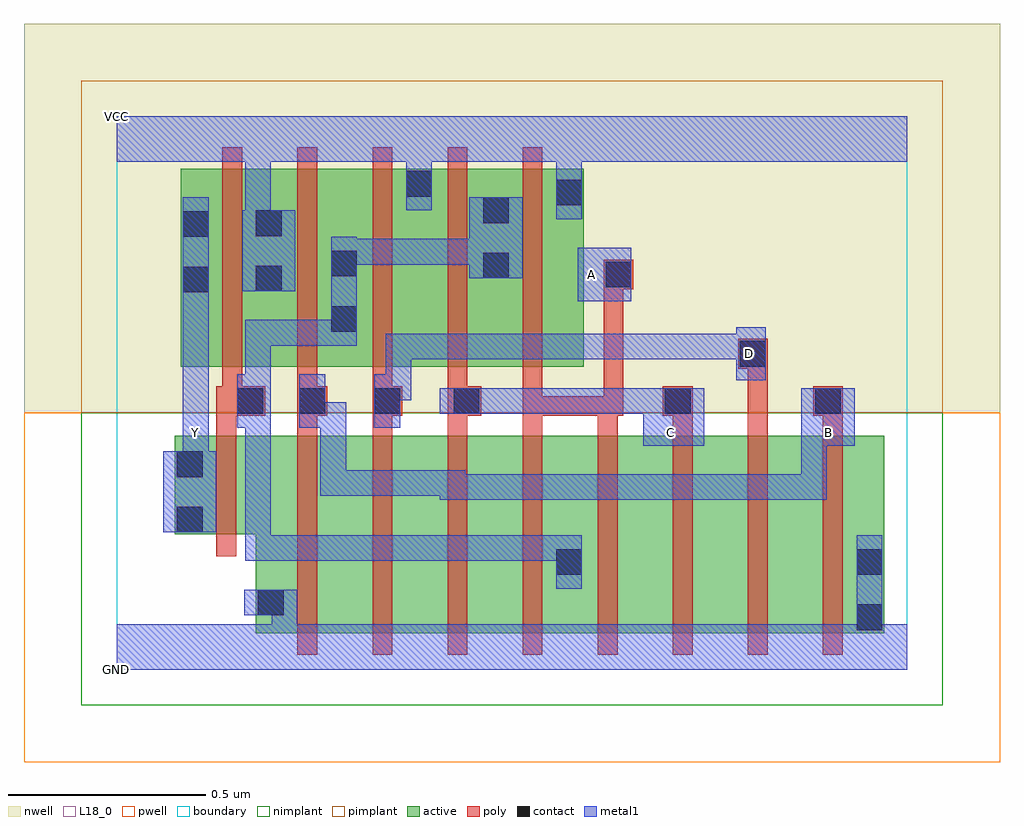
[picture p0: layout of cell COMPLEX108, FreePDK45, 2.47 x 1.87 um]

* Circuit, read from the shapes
.subckt COMPLEX108 A B C D GND VCC Y
M1 GND n1 Y VSUBS nfet w=0.25u l=0.05u
M2 n2 B GND VSUBS nfet w=0.5u l=0.05u
M3 n3 D n2 VSUBS nfet w=0.5u l=0.05u
M4 n4 C n3 VSUBS nfet w=0.5u l=0.05u
M5 n1 A n4 VSUBS nfet w=0.5u l=0.05u
M6 n5 A n1 VSUBS nfet w=0.5u l=0.05u
M7 n6 C n5 VSUBS nfet w=0.5u l=0.05u
M8 n7 D n6 VSUBS nfet w=0.5u l=0.05u
M9 GND B n7 VSUBS nfet w=0.5u l=0.05u
M10 VCC n1 Y n8 pfet w=0.5u l=0.05u
M11 n1 B VCC n8 pfet w=0.5u l=0.05u
M12 VCC D n1 n8 pfet w=0.5u l=0.05u
M13 n1 C VCC n8 pfet w=0.5u l=0.05u
M14 VCC A n1 n8 pfet w=0.5u l=0.05u
.ends

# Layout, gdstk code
import gdstk
lib = gdstk.Library(unit=1e-6, precision=1e-09)
def R(c, l, rs):  # rectangles x0, y0, x1, y1
    for r in rs: c.add(gdstk.rectangle(r[:2], r[2:], *l))
def A(c, l, x, y, w, h, nx, ny, dx, dy):  # array of equal rectangles
    R(c, l, [(x+i*dx, y+j*dy, x+i*dx+w, y+j*dy+h) for i in range(nx) for j in range(ny)])
active = (1, 0)
pwell = (2, 0)
nwell = (3, 0)
nimplant = (4, 0)
pimplant = (5, 0)
poly = (9, 0)
contact = (10, 0)
metal1 = (11, 0)
L18_0 = (18, 0)
boundary = (235, 0)

complex108 = lib.new_cell('COMPLEX108')
R(complex108, active, [(0.352,0.092,0.577,0.592), (0.352,0.092,0.427,0.462), (0.577,0.092,0.767,0.592), (0.767,0.092,0.957,0.592), (0.957,0.092,1.182,0.592), (1.107,0.092,1.337,0.592), (1.337,0.092,1.527,0.592), (1.527,0.092,1.717,0.592), (1.717,0.092,1.942,0.592), (1.107,0.095,1.182,0.517), (1.867,0.095,1.942,0.592), (0.147,0.342,0.427,0.592), (0.147,0.342,0.222,0.592), (0.162,0.767,0.422,1.267), (0.162,0.767,0.237,1.2), (0.347,0.767,0.612,1.267), (0.537,0.767,0.802,1.267), (0.537,0.767,0.612,1.2), (0.727,0.767,0.997,1.267), (0.922,0.767,1.182,1.267), (1.107,0.767,1.182,1.267), (0.347,0.807,0.422,1.267), (0.727,0.807,0.802,1.267), (0.922,0.807,0.997,1.2)])
R(complex108, pwell, [(-0.235,-0.235,2.235,0.65)])
R(complex108, nwell, [(-0.235,0.65,2.235,1.635)])
R(complex108, nimplant, [(-0.09,-0.09,2.09,0.65)])
R(complex108, pimplant, [(-0.09,0.65,2.09,1.49)])
A(complex108, poly, 0.457, 0.037, 0.05, 0.61, 8, 1, 0.19, 0)
A(complex108, poly, 0.457, 0.597, 0.05, 0.095, 6, 1, 0.19, 0)
A(complex108, poly, 0.267, 0.667, 0.05, 0.095, 4, 1, 0.19, 0)
A(complex108, poly, 0.267, 0.712, 0.05, 0.61, 5, 1, 0.19, 0)
R(complex108, poly, [(0.252,0.287,0.302,0.647), (0.252,0.597,0.302,0.692), (1.597,0.597,1.647,0.812), (1.787,0.597,1.837,0.692), (0.252,0.642,0.375,0.717), (0.457,0.642,0.532,0.717), (0.647,0.642,0.722,0.717), (0.837,0.642,0.922,0.717), (1.027,0.642,1.077,0.692), (1.027,0.642,1.267,0.692), (1.027,0.642,1.077,0.762), (1.217,0.642,1.267,0.692), (1.217,0.642,1.267,0.692), (1.217,0.642,1.282,0.692), (1.232,0.642,1.282,1.012), (1.232,0.642,1.282,0.692), (1.232,0.642,1.282,0.692), (1.382,0.642,1.457,0.717), (1.762,0.642,1.837,0.717), (1.572,0.762,1.647,0.837), (1.232,0.962,1.307,1.037)])
R(complex108, contact, [(1.872,0.1,1.937,0.165), (0.357,0.137,0.422,0.202), (1.112,0.24,1.177,0.305), (1.872,0.24,1.937,0.305), (0.152,0.347,0.217,0.412), (0.152,0.487,0.217,0.552), (0.305,0.647,0.37,0.712), (0.462,0.647,0.527,0.712), (0.652,0.647,0.717,0.712), (0.852,0.647,0.917,0.712), (1.387,0.647,1.452,0.712), (1.767,0.647,1.832,0.712), (1.577,0.767,1.642,0.832), (0.542,0.855,0.607,0.92), (0.167,0.955,0.232,1.02), (0.352,0.957,0.417,1.022), (1.237,0.967,1.302,1.032), (0.927,0.99,0.992,1.055), (0.542,0.995,0.607,1.06), (0.167,1.095,0.232,1.16), (0.352,1.097,0.417,1.162), (0.927,1.13,0.992,1.195), (1.112,1.175,1.177,1.24), (0.732,1.197,0.797,1.262)])
R(complex108, metal1, [(0,0,2,0.115), (0.392,0.05,0.457,0.202), (1.872,0.05,1.937,0.13), (1.872,0.065,1.937,0.34), (0.322,0.137,0.457,0.202), (1.112,0.205,1.177,0.34), (0.325,0.275,0.39,0.34), (0.325,0.275,0.507,0.34), (0.325,0.275,0.39,0.677), (0.442,0.275,0.507,0.34), (0.442,0.275,0.527,0.34), (0.462,0.275,0.527,0.34), (0.462,0.275,0.745,0.34), (0.68,0.275,0.745,0.34), (0.68,0.275,0.745,0.34), (0.68,0.275,0.745,0.34), (0.68,0.275,0.882,0.34), (0.817,0.275,0.882,0.34), (0.817,0.275,0.882,0.34), (0.817,0.275,0.882,0.34), (0.817,0.275,1.095,0.34), (1.03,0.275,1.095,0.34), (1.03,0.275,1.177,0.34), (0.117,0.347,0.252,0.552), (0.817,0.43,0.882,0.495), (0.817,0.43,0.882,0.495), (0.817,0.43,1.095,0.495), (0.817,0.43,0.882,0.505), (1.03,0.43,1.095,0.495), (1.03,0.43,1.095,0.495), (1.03,0.43,1.095,0.495), (1.03,0.43,1.26,0.495), (1.195,0.43,1.26,0.495), (1.195,0.43,1.26,0.495), (1.195,0.43,1.26,0.495), (1.195,0.43,1.487,0.495), (1.422,0.43,1.487,0.495), (1.422,0.43,1.487,0.495), (1.422,0.43,1.487,0.495), (1.422,0.43,1.625,0.495), (1.56,0.43,1.625,0.495), (1.56,0.43,1.797,0.495), (1.732,0.43,1.797,0.495), (1.732,0.43,1.797,0.632), (0.515,0.44,0.58,0.505), (0.515,0.44,0.745,0.505), (0.515,0.44,0.58,0.677), (0.68,0.44,0.745,0.505), (0.68,0.44,0.745,0.505), (0.68,0.44,0.745,0.505), (0.68,0.44,0.882,0.505), (0.167,0.487,0.232,0.597), (0.167,0.532,0.232,0.667), (1.332,0.567,1.487,0.712), (1.732,0.567,1.797,0.632), (1.732,0.567,1.797,0.632), (1.732,0.567,1.867,0.712), (0.167,0.602,0.232,0.985), (0.305,0.612,0.37,0.747), (0.305,0.612,0.39,0.677), (0.325,0.612,0.39,0.677), (0.325,0.612,0.39,0.677), (0.325,0.612,0.39,0.677), (0.325,0.612,0.39,0.885), (0.462,0.612,0.527,0.747), (0.462,0.612,0.58,0.677), (0.515,0.612,0.58,0.677), (0.652,0.612,0.717,0.747), (0.817,0.647,0.952,0.712), (0.887,0.647,0.952,0.712), (0.887,0.647,0.952,0.712), (0.887,0.647,1.095,0.712), (1.03,0.647,1.095,0.712), (1.03,0.647,1.095,0.712), (1.03,0.647,1.095,0.712), (1.03,0.647,1.232,0.712), (1.167,0.647,1.232,0.712), (1.167,0.647,1.232,0.712), (1.167,0.647,1.232,0.712), (1.167,0.647,1.397,0.712), (0.652,0.682,0.745,0.747), (0.68,0.682,0.745,0.747), (0.68,0.682,0.745,0.85), (1.567,0.732,1.642,0.867), (0.68,0.785,0.745,0.85), (0.68,0.785,0.882,0.85), (0.817,0.785,0.882,0.85), (0.817,0.785,0.882,0.85), (0.817,0.785,0.882,0.85), (0.817,0.785,1.095,0.85), (1.03,0.785,1.095,0.85), (1.03,0.785,1.095,0.85), (1.03,0.785,1.095,0.85), (1.03,0.785,1.26,0.85), (1.195,0.785,1.26,0.85), (1.195,0.785,1.26,0.85), (1.195,0.785,1.26,0.85), (1.195,0.785,1.397,0.85), (1.332,0.785,1.397,0.85), (1.332,0.785,1.632,0.85), (1.567,0.785,1.632,0.85), (1.567,0.785,1.632,0.85), (1.567,0.785,1.632,0.85), (1.567,0.785,1.632,0.85), (0.325,0.82,0.39,0.885), (0.325,0.82,0.58,0.885), (0.515,0.82,0.58,0.885), (0.515,0.82,0.607,0.885), (0.542,0.82,0.607,1.095), (0.167,0.92,0.232,1.195), (1.167,0.932,1.302,1.067), (0.317,0.957,0.452,1.162), (0.892,0.99,1.027,1.195), (0.542,1.025,0.745,1.09), (0.542,1.025,0.607,1.095), (0.68,1.025,0.745,1.09), (0.68,1.025,0.745,1.09), (0.68,1.025,0.745,1.09), (0.68,1.025,0.957,1.09), (0.892,1.025,0.957,1.09), (0.892,1.025,0.957,1.09), (0.542,1.03,0.607,1.095), (0.325,1.097,0.39,1.162), (0.325,1.097,0.39,1.162), (0.325,1.097,0.39,1.35), (1.112,1.14,1.177,1.275), (0.732,1.162,0.797,1.297), (1.112,1.21,1.177,1.35), (0.732,1.232,0.797,1.35), (0,1.285,2,1.4), (0.732,1.285,0.797,1.35), (0.732,1.285,0.797,1.35), (1.112,1.285,1.177,1.35), (1.112,1.285,1.177,1.35)])
R(complex108, L18_0, [(0,0,2,0.115), (0.392,0.05,0.457,0.202), (1.872,0.05,1.937,0.13), (1.872,0.065,1.937,0.34), (0.322,0.137,0.457,0.202), (0.117,0.347,0.252,0.552), (0.817,0.43,0.882,0.495), (0.817,0.43,0.882,0.495), (0.817,0.43,0.882,0.505), (0.817,0.43,1.095,0.495), (1.03,0.43,1.095,0.495), (1.03,0.43,1.095,0.495), (1.03,0.43,1.095,0.495), (1.03,0.43,1.26,0.495), (1.195,0.43,1.26,0.495), (1.195,0.43,1.26,0.495), (1.195,0.43,1.26,0.495), (1.195,0.43,1.487,0.495), (1.422,0.43,1.487,0.495), (1.422,0.43,1.487,0.495), (1.422,0.43,1.487,0.495), (1.422,0.43,1.625,0.495), (1.56,0.43,1.625,0.495), (1.56,0.43,1.797,0.495), (1.732,0.43,1.797,0.495), (1.732,0.43,1.797,0.632), (0.515,0.44,0.58,0.505), (0.515,0.44,0.58,0.677), (0.515,0.44,0.745,0.505), (0.68,0.44,0.745,0.505), (0.68,0.44,0.745,0.505), (0.68,0.44,0.745,0.505), (0.68,0.44,0.882,0.505), (0.167,0.487,0.232,0.597), (0.167,0.532,0.232,0.667), (0.167,0.567,0.232,0.632), (1.332,0.567,1.487,0.712), (1.367,0.567,1.432,0.632), (1.732,0.567,1.797,0.632), (1.732,0.567,1.797,0.632), (1.732,0.567,1.867,0.712), (1.767,0.567,1.832,0.632), (0.167,0.602,0.232,0.985), (0.462,0.612,0.527,0.747), (0.462,0.612,0.58,0.677), (0.515,0.612,0.58,0.677), (0.652,0.612,0.717,0.747), (0.817,0.647,0.952,0.712), (0.887,0.647,0.952,0.712), (0.887,0.647,0.952,0.712), (0.887,0.647,1.095,0.712), (1.03,0.647,1.095,0.712), (1.03,0.647,1.095,0.712), (1.03,0.647,1.095,0.712), (1.03,0.647,1.232,0.712), (1.167,0.647,1.232,0.712), (1.167,0.647,1.232,0.712), (1.167,0.647,1.232,0.712), (1.167,0.647,1.397,0.712), (0.652,0.682,0.745,0.747), (0.68,0.682,0.745,0.747), (0.68,0.682,0.745,0.85), (1.567,0.732,1.642,0.867), (1.567,0.767,1.632,0.832), (0.68,0.785,0.745,0.85), (0.68,0.785,0.882,0.85), (0.817,0.785,0.882,0.85), (0.817,0.785,0.882,0.85), (0.817,0.785,0.882,0.85), (0.817,0.785,1.095,0.85), (1.03,0.785,1.095,0.85), (1.03,0.785,1.095,0.85), (1.03,0.785,1.095,0.85), (1.03,0.785,1.26,0.85), (1.195,0.785,1.26,0.85), (1.195,0.785,1.26,0.85), (1.195,0.785,1.26,0.85), (1.195,0.785,1.397,0.85), (1.332,0.785,1.397,0.85), (1.332,0.785,1.632,0.85), (1.567,0.785,1.632,0.85), (1.567,0.785,1.632,0.85), (1.567,0.785,1.632,0.85), (1.567,0.785,1.632,0.85), (0.167,0.92,0.232,1.195), (1.167,0.932,1.302,1.067), (0.317,0.957,0.452,1.162), (1.167,0.967,1.232,1.032), (0.325,1.097,0.39,1.162), (0.325,1.097,0.39,1.162), (0.325,1.097,0.39,1.35), (1.112,1.14,1.177,1.275), (0.732,1.162,0.797,1.297), (1.112,1.21,1.177,1.35), (0.732,1.232,0.797,1.35), (0,1.285,2,1.4), (0.732,1.285,0.797,1.35), (0.732,1.285,0.797,1.35), (1.112,1.285,1.177,1.35), (1.112,1.285,1.177,1.35)])
R(complex108, boundary, [(0,0,2,1.4)])
complex108.add(gdstk.Label('A', (1.2,1), layer=11, texttype=0))
complex108.add(gdstk.Label('B', (1.8,0.6), layer=11, texttype=0))
complex108.add(gdstk.Label('C', (1.4,0.6), layer=11, texttype=0))
complex108.add(gdstk.Label('D', (1.6,0.8), layer=11, texttype=0))
complex108.add(gdstk.Label('Y', (0.2,0.6), layer=11, texttype=0))
complex108.add(gdstk.Label('VCC', (0,1.4), layer=11, texttype=0))
complex108.add(gdstk.Label('GND', (0,0), layer=11, texttype=0))

lib.write_gds('COMPLEX108.gds')
